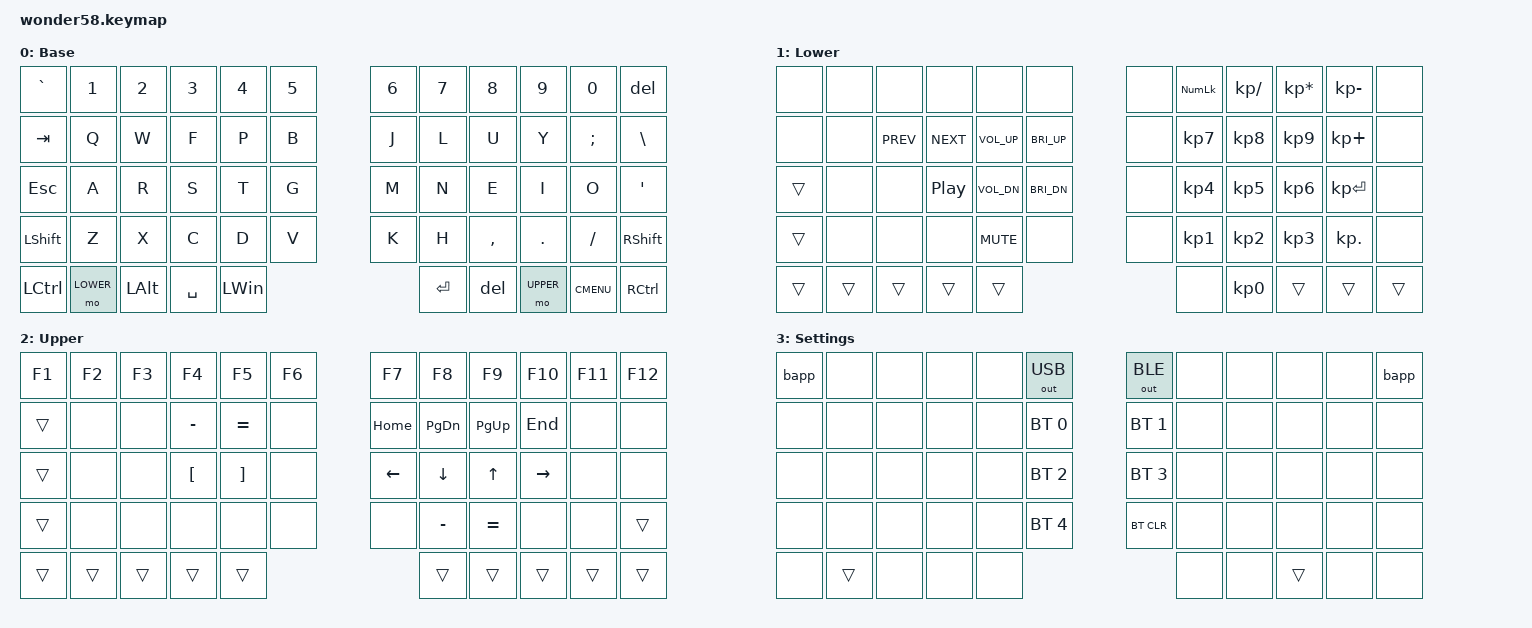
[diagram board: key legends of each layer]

#include <behaviors.dtsi>
#include <dt-bindings/zmk/keys.h>
#include <dt-bindings/zmk/bt.h>
#include <dt-bindings/zmk/ext_power.h>
#include <dt-bindings/zmk/outputs.h>
#include <behaviors/battery_percentage_printer.dtsi>

#define LOWER 1
#define UPPER 2
#define SETT 3

/ {
    behaviors {
        del: backspace_delete {
            compatible = "zmk,behavior-mod-morph";
            #binding-cells = <0>;
            bindings = <&kp BSPC>, <&kp DEL>;
            mods = <(MOD_LSFT|MOD_RSFT)>;
        };
    };
};

/ {
    keymap {
        compatible = "zmk,keymap";


        default_layer { // Layer 0
            display-name = "Base";
            bindings = <
                &kp GRAVE &kp N1 &kp N2 &kp N3   &kp N4    &kp N5       		&kp N6   &kp N7    &kp N8    &kp N9  &kp N0      &del
                &kp TAB   &kp Q  &kp W  &kp F    &kp P     &kp B 				&kp J    &kp L     &kp U     &kp Y   &kp SEMI    &kp BSLH
                &kp ESC   &kp A  &kp R  &kp S    &kp T     &kp G   				&kp M    &kp N     &kp E     &kp I   &kp O       &kp APOS
                &kp LSHFT &kp Z  &kp X  &kp C    &kp D     &kp V 			    &kp K    &kp H     &kp COMMA &kp DOT &kp SLASH   &kp RSHIFT
                &kp LCTRL &mo LOWER 		&kp LALT &kp SPACE &kp LWIN     &kp ENTER &del &mo UPPER 		         &kp K_CMENU &kp RCTL
            >;
        };

        lower { 
            display-name = "Lower";
            bindings = <
                &none  &none   &none      &none      &none        &none             &none  &kp KP_NUM &kp KP_SLASH  &kp KP_MULTIPLY &kp KP_MINUS &none
                &none   &none  &kp C_PREV &kp C_NEXT &kp C_VOL_UP &kp C_BRI_UP      &none  &kp KP_N7  &kp KP_N8     &kp KP_N9       &kp KP_PLUS  &none  
                &trans  &none  &none      &kp C_PP   &kp C_VOL_DN &kp C_BRI_DN      &none  &kp KP_N4  &kp KP_N5     &kp KP_N6       &kp KP_ENTER &none  
                &trans  &none  &none      &none      &kp C_MUTE   &none             &none  &kp KP_N1  &kp KP_N2     &kp KP_N3       &kp KP_DOT   &none  
                &trans  &trans            &trans     &trans       &trans            &none  &kp KP_N0  &trans                        &trans       &trans  
            >;
        };

        upper { 
            display-name = "Upper";
            bindings = <
                &kp F1  &kp F2  &kp F3  &kp F4    &kp F5    &kp F6          &kp F7   &kp F8    &kp F9    &kp F10   &kp F11 &kp F12
                &trans  &none   &none   &kp MINUS &kp EQUAL &none           &kp HOME &kp PG_DN &kp PG_UP &kp END   &none   &none
                &trans  &none   &none   &kp LBKT  &kp RBKT  &none           &kp LEFT &kp DOWN  &kp UP    &kp RIGHT &none   &none
                &trans  &none   &none   &none     &none     &none           &none    &kp MINUS &kp EQUAL     &none     &none   &trans  
                &trans  &trans          &trans    &trans    &trans          &trans  &trans     &trans              &trans  &trans  
            >;
        };

        settings {
            display-name = "Settings";
            bindings = <
                &bapp  &none  &none  &none  &none  &out OUT_USB    &out OUT_BLE  &none  &none  &none  &none  &bapp  
                &none  &none  &none  &none  &none  &bt BT_SEL 0    &bt BT_SEL 1  &none  &none  &none  &none  &none  
                &none  &none  &none  &none  &none  &bt BT_SEL 2    &bt BT_SEL 3  &none  &none  &none  &none  &none  
                &none  &none  &none  &none  &none  &bt BT_SEL 4    &bt BT_CLR  &none  &none  &none  &none  &none  
                &none  &trans          &none  &none  &none          &none  &none  &trans          &none  &none  
            >;
        };

        
    };
 };

    /*
     *  0    1   2   3   4   5       6   7   8   9  10  11
     * 12   13  14  15  16  17      18  19  20  21  22  23
     * 24   25  26  27  28  29      30  31  32  33  34  35
     * 36   37  38  39  40  41      42  43  44  45  46  47
     * 48   49      50  51  52      53  54  55      56  57
     */

 / {
    conditional_layers {
        compatible = "zmk,conditional-layers";
        tri_layer {
            if-layers = <LOWER UPPER>;
            then-layer = <SETT>;
        };
    };
};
